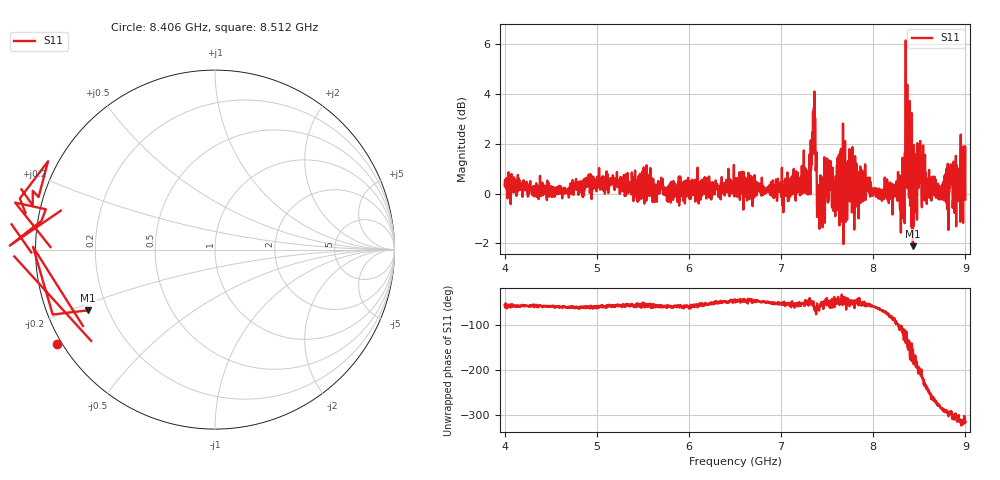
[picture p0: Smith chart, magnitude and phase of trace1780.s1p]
! Created with skrf 1.8.0 (http://scikit-rf.org).
# Hz S RI R 50.0
!freq ReS11 ImS11
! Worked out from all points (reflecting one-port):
!   1601 points, 4 GHz to 9 GHz, reference 50 ohm
!   lowest |S11| = -2.1 dB at 8.431 GHz (marker M1), VSWR 8.27, Z = 6.35 - j11.2 ohm
!   phase of S11 starts at -56 deg and turns -260 deg over the sweep
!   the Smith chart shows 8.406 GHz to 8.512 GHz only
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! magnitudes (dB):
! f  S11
! 4 GHz  0.3
! 4.625 GHz  -0.2
! 5.25 GHz  0.0
! 5.875 GHz  -0.3
! 6.5 GHz  0.4
! 7.125 GHz  0.6
! 7.294 GHz  0.0
! 7.347 GHz  3.3
! 7.362 GHz  4.1
! 7.4 GHz  -0.3
! 7.412 GHz  -0.3
! 7.512 GHz  1.2
! 7.578 GHz  -0.6
! 7.631 GHz  0.2
! 7.75 GHz  0.3
! 8.097 GHz  0.2
! 8.259 GHz  0.4
! 8.316 GHz  -0.2
! 8.331 GHz  -1.0
! 8.375 GHz  1.8
! 8.406 GHz  0.2
! 8.431 GHz  -2.1
! 8.525 GHz  0.0
! 8.606 GHz  0.9
! 8.794 GHz  -0.4
! 8.853 GHz  0.6
! 8.972 GHz  0.1
! 9 GHz  -0.2
